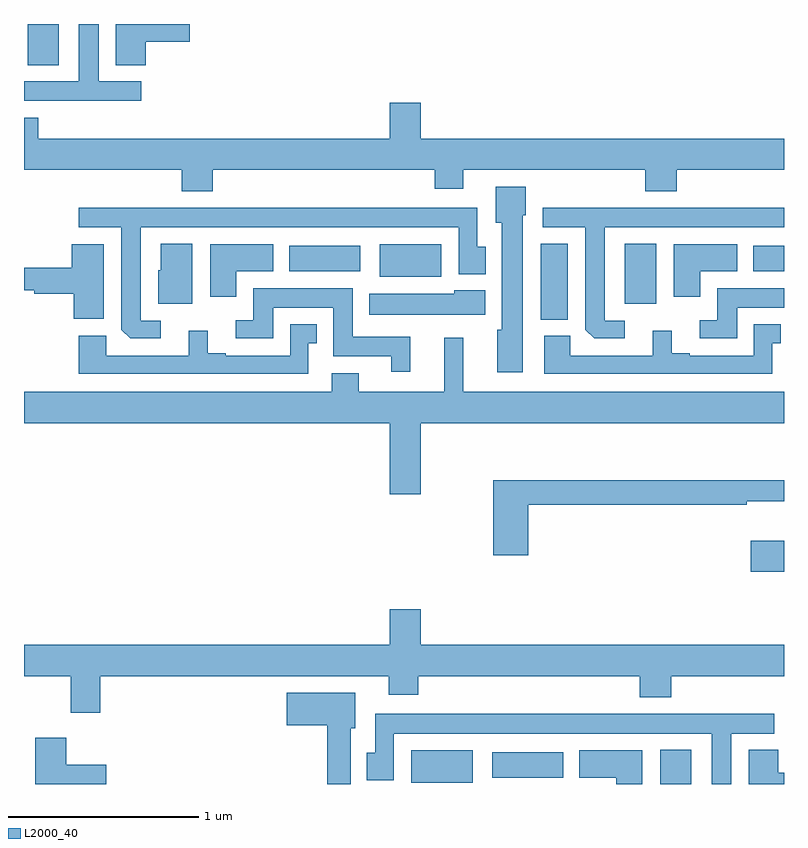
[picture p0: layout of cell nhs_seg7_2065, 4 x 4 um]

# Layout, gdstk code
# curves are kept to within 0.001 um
import gdstk
lib = gdstk.Library(unit=1e-6, precision=1e-09)
def R(c, l, rs):  # rectangles x0, y0, x1, y1
    for r in rs: c.add(gdstk.rectangle(r[:2], r[2:], *l))
def P(c, l, *ps):  # polygons
    for p in ps: c.add(gdstk.Polygon(p, *l))
L2000_40 = (2000, 40)

nhs_seg7_2065 = lib.new_cell('nhs_seg7_2065')
R(nhs_seg7_2065, L2000_40, [(250.349,1048,250.513,1048.18), (249.038,1048.007,249.361,1048.177), (249.465,1048.034,249.838,1048.168), (250.824,1049.116,251,1049.281), (249.719,1050.443,249.862,1050.844), (250.163,1050.528,250.327,1050.844), (248.873,1050.671,249.196,1050.841), (248.396,1050.698,248.77,1050.832), (250.838,1050.698,251,1050.832), (247.019,1051.784,247.183,1052)])
P(nhs_seg7_2065, L2000_40, [(247.618,1051.699),(247.393,1051.699),(247.393,1052),(247.289,1052),(247.289,1051.699),(247,1051.699),(247,1051.595),(247.618,1051.595)],
  [(247.64,1051.907),(247.873,1051.907),(247.873,1052),(247.484,1052),(247.484,1051.784),(247.64,1051.784)],
  [(247.994,1051.232),(249.161,1051.232),(249.161,1051.133),(249.313,1051.133),(249.313,1051.232),(250.271,1051.232),(250.271,1051.121),(250.436,1051.121),(250.436,1051.232),(251,1051.232),(251,1051.396),(249.088,1051.396),(249.088,1051.585),(248.924,1051.585),(248.924,1051.396),(247.076,1051.396),(247.076,1051.507),(247,1051.507),(247,1051.232),(247.829,1051.232),(247.829,1051.121),(247.994,1051.121)],
  [(249.625,1050.993),(249.64,1050.993),(249.64,1051.144),(249.482,1051.144),(249.482,1050.953),(249.515,1050.953),(249.515,1050.39),(249.491,1050.39),(249.491,1050.168),(249.625,1050.168)],
  [(247.72,1050.438),(247.615,1050.438),(247.615,1050.929),(249.288,1050.929),(249.288,1050.684),(249.43,1050.684),(249.43,1050.828),(249.385,1050.828),(249.385,1051.033),(247.287,1051.033),(247.287,1050.929),(247.511,1050.929),(247.512,1050.391),(247.558,1050.345),(247.72,1050.345)],
  [(250.162,1050.438),(250.057,1050.438),(250.057,1050.929),(251,1050.929),(251,1051.033),(249.729,1051.033),(249.729,1050.929),(249.953,1050.929),(249.954,1050.391),(250,1050.345),(250.162,1050.345)],
  [(247.885,1050.844),(247.721,1050.844),(247.721,1050.705),(247.706,1050.705),(247.706,1050.528),(247.885,1050.528)],
  [(247.42,1050.841),(247.25,1050.841),(247.25,1050.716),(247,1050.716),(247,1050.6),(247.054,1050.6),(247.054,1050.58),(247.262,1050.58),(247.262,1050.449),(247.42,1050.449)],
  [(250.558,1050.698),(250.753,1050.698),(250.753,1050.841),(250.421,1050.841),(250.421,1050.564),(250.558,1050.564)],
  [(248.116,1050.698),(248.311,1050.698),(248.311,1050.841),(247.979,1050.841),(247.979,1050.564),(248.116,1050.564)],
  [(249.032,1050.355),(248.731,1050.355),(248.731,1050.61),(248.207,1050.61),(248.207,1050.441),(248.115,1050.441),(248.115,1050.345),(248.311,1050.345),(248.311,1050.506),(248.627,1050.506),(248.627,1050.251),(248.933,1050.251),(248.933,1050.171),(249.032,1050.171)],
  [(250.753,1050.506),(251,1050.506),(251,1050.61),(250.649,1050.61),(250.649,1050.441),(250.557,1050.441),(250.557,1050.345),(250.753,1050.345)],
  [(249.427,1050.598),(249.264,1050.598),(249.264,1050.58),(248.816,1050.58),(248.816,1050.47),(249.427,1050.47)],
  [(248.496,1050.321),(248.542,1050.321),(248.542,1050.421),(248.4,1050.421),(248.4,1050.255),(248.062,1050.255),(248.062,1050.268),(247.966,1050.268),(247.966,1050.385),(247.868,1050.385),(247.868,1050.255),(247.434,1050.255),(247.434,1050.358),(247.288,1050.358),(247.288,1050.159),(248.496,1050.159)],
  [(250.938,1050.321),(250.984,1050.321),(250.984,1050.421),(250.842,1050.421),(250.842,1050.255),(250.504,1050.255),(250.504,1050.268),(250.408,1050.268),(250.408,1050.385),(250.31,1050.385),(250.31,1050.255),(249.876,1050.255),(249.876,1050.358),(249.737,1050.358),(249.737,1050.159),(250.938,1050.159)],
  [(249.088,1049.9),(251,1049.9),(251,1050.064),(249.311,1050.064),(249.311,1050.349),(249.212,1050.349),(249.212,1050.064),(248.761,1050.064),(248.761,1050.163),(248.621,1050.163),(248.621,1050.064),(247,1050.064),(247,1049.9),(248.924,1049.9),(248.924,1049.526),(249.088,1049.526)],
  [(249.653,1049.47),(250.803,1049.47),(250.803,1049.489),(251,1049.489),(251,1049.599),(249.47,1049.599),(249.47,1049.205),(249.653,1049.205)],
  [(247.4,1048.568),(248.921,1048.568),(248.921,1048.469),(249.074,1048.469),(249.074,1048.568),(250.241,1048.568),(250.241,1048.457),(250.406,1048.457),(250.406,1048.568),(251,1048.568),(251,1048.732),(249.088,1048.732),(249.088,1048.921),(248.924,1048.921),(248.924,1048.732),(247,1048.732),(247,1048.568),(247.247,1048.568),(247.247,1048.374),(247.4,1048.374)],
  [(248.719,1048.293),(248.743,1048.293),(248.743,1048.48),(248.382,1048.48),(248.382,1048.31),(248.597,1048.31),(248.597,1048),(248.719,1048)],
  [(250.723,1048.265),(250.948,1048.265),(250.948,1048.369),(248.849,1048.369),(248.849,1048.164),(248.804,1048.164),(248.804,1048.02),(248.946,1048.02),(248.946,1048.265),(250.619,1048.265),(250.619,1048),(250.723,1048)],
  [(247.432,1048.102),(247.222,1048.102),(247.222,1048.243),(247.058,1048.243),(247.058,1048),(247.432,1048)],
  [(251,1048.058),(250.97,1048.058),(250.97,1048.18),(250.814,1048.18),(250.814,1048),(251,1048)],
  [(250.255,1048.177),(249.923,1048.177),(249.923,1048.034),(250.118,1048.034),(250.118,1048),(250.255,1048)])

lib.write_gds('nhs_seg7_2065.gds')
